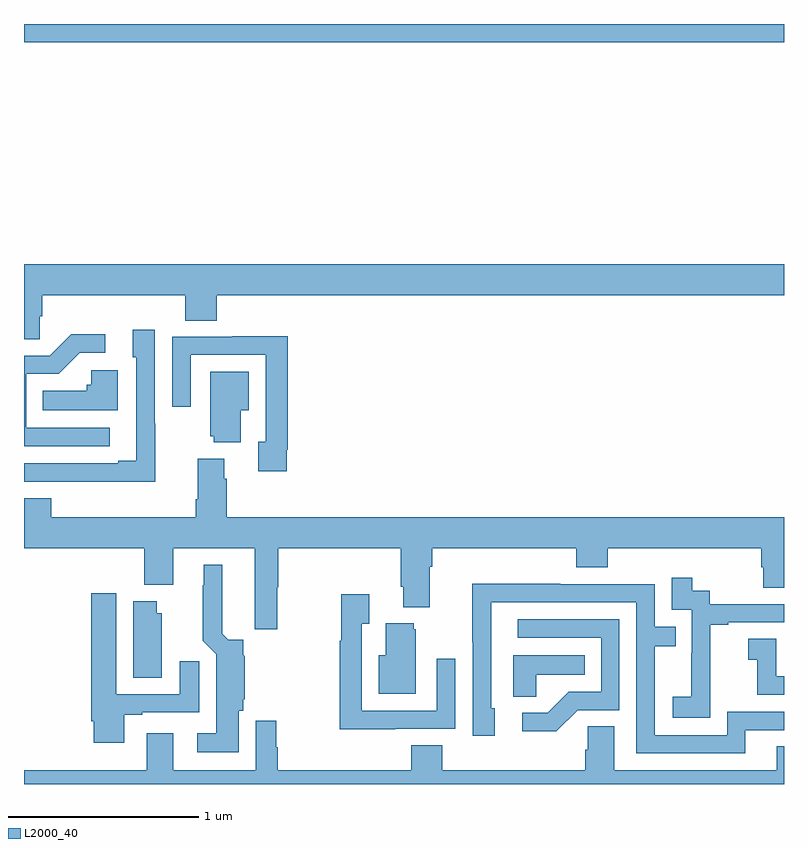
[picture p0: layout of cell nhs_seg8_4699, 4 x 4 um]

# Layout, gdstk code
import gdstk
lib = gdstk.Library(unit=1e-6, precision=1e-09)
def R(c, l, rs):  # rectangles x0, y0, x1, y1
    for r in rs: c.add(gdstk.rectangle(r[:2], r[2:], *l))
def P(c, l, *ps):  # polygons
    for p in ps: c.add(gdstk.Polygon(p, *l))
L2000_40 = (2000, 40)

nhs_seg8_4699 = lib.new_cell('nhs_seg8_4699')
R(nhs_seg8_4699, L2000_40, [(395,1145.804,399,1145.9)])
P(nhs_seg8_4699, L2000_40, [(395,1144.24),(395.082,1144.24),(395.082,1144.363),(395.096,1144.363),(395.096,1144.472),(395.849,1144.472),(395.849,1144.339),(396.014,1144.339),(396.014,1144.472),(399,1144.472),(399,1144.636),(395,1144.636)],
  [(395.691,1143.797),(395.688,1143.797),(395.688,1144.291),(395.573,1144.291),(395.573,1144.146),(395.592,1144.146),(395.592,1143.601),(395.495,1143.601),(395.495,1143.588),(395,1143.588),(395,1143.492),(395.227,1143.492),(395.227,1143.491),(395.691,1143.491)],
  [(395.452,1143.774),(395.013,1143.774),(395.013,1144.059),(395.182,1144.059),(395.293,1144.17),(395.428,1144.17),(395.428,1144.268),(395.249,1144.268),(395.136,1144.155),(395,1144.155),(395,1143.678),(395.452,1143.678)],
  [(396.382,1143.658),(396.389,1143.658),(396.389,1144.256),(396.097,1144.256),(396.097,1144.254),(395.781,1144.254),(395.781,1143.885),(395.877,1143.885),(395.877,1144.158),(396.273,1144.158),(396.273,1143.702),(396.233,1143.702),(396.233,1143.546),(396.382,1143.546)],
  [(395.494,1144.078),(395.355,1144.078),(395.355,1144.002),(395.329,1144.002),(395.329,1143.97),(395.098,1143.97),(395.098,1143.866),(395.494,1143.866)],
  [(396.142,1143.866),(396.184,1143.866),(396.184,1144.069),(395.981,1144.069),(395.981,1143.729),(395.999,1143.729),(395.999,1143.698),(396.142,1143.698)],
  [(396.055,1143.506),(396.055,1143.613),(395.915,1143.613),(395.915,1143.4),(395.903,1143.4),(395.903,1143.304),(395.144,1143.304),(395.144,1143.403),(395,1143.403),(395,1143.14),(395.633,1143.14),(395.633,1142.948),(395.785,1142.948),(395.785,1143.14),(396.215,1143.14),(396.215,1142.715),(396.333,1142.715),(396.333,1142.936),(396.338,1142.936),(396.338,1143.14),(396.983,1143.14),(396.983,1142.938),(396.995,1142.938),(396.995,1142.831),(397.135,1142.831),(397.135,1143.044),(397.148,1143.044),(397.148,1143.14),(397.907,1143.14),(397.907,1143.041),(398.072,1143.041),(398.072,1143.14),(398.879,1143.14),(398.879,1143.042),(398.891,1143.042),(398.891,1142.932),(399,1142.932),(399,1143.304),(396.068,1143.304),(396.068,1143.506)],
  [(396.13,1142.286),(396.155,1142.286),(396.155,1142.346),(396.161,1142.346),(396.161,1142.573),(396.155,1142.579),(396.155,1142.658),(396.076,1142.658),(396.043,1142.692),(396.043,1143.055),(395.945,1143.055),(395.945,1142.945),(395.941,1142.945),(395.941,1142.654),(396.011,1142.584),(396.011,1142.167),(395.913,1142.167),(395.913,1142.066),(396.13,1142.066)],
  [(398.613,1142.455),(398.612,1142.455),(398.612,1142.739),(398.707,1142.739),(398.707,1142.751),(399,1142.751),(399,1142.847),(398.61,1142.847),(398.61,1142.916),(398.518,1142.916),(398.518,1142.986),(398.409,1142.986),(398.409,1142.817),(398.514,1142.817),(398.514,1142.588),(398.513,1142.588),(398.513,1142.359),(398.415,1142.359),(398.415,1142.249),(398.613,1142.249)],
  [(398.797,1142.184),(399,1142.184),(399,1142.28),(398.7,1142.28),(398.7,1142.157),(398.319,1142.157),(398.319,1142.626),(398.429,1142.626),(398.429,1142.727),(398.319,1142.727),(398.319,1142.952),(397.823,1142.952),(397.823,1142.954),(397.36,1142.954),(397.36,1142.647),(397.362,1142.647),(397.362,1142.154),(397.477,1142.154),(397.477,1142.298),(397.458,1142.298),(397.458,1142.856),(398.223,1142.856),(398.223,1142.061),(398.797,1142.061)],
  [(395.527,1142.265),(395.623,1142.265),(395.623,1142.277),(395.923,1142.277),(395.923,1142.545),(395.819,1142.545),(395.819,1142.373),(395.485,1142.373),(395.485,1142.905),(395.354,1142.905),(395.354,1142.23),(395.366,1142.23),(395.366,1142.118),(395.527,1142.118)],
  [(396.953,1142.19),(397.269,1142.19),(397.269,1142.56),(397.173,1142.56),(397.173,1142.286),(396.777,1142.286),(396.777,1142.743),(396.817,1142.743),(396.817,1142.899),(396.669,1142.899),(396.669,1142.654),(396.661,1142.654),(396.661,1142.189),(396.953,1142.189)],
  [(395.725,1142.799),(395.698,1142.799),(395.698,1142.863),(395.576,1142.863),(395.576,1142.458),(395.725,1142.458)],
  [(397.914,1142.289),(398.133,1142.289),(398.133,1142.766),(397.599,1142.766),(397.599,1142.67),(398.037,1142.67),(398.037,1142.385),(397.868,1142.385),(397.757,1142.274),(397.623,1142.274),(397.623,1142.177),(397.801,1142.177)],
  [(397.063,1142.715),(397.052,1142.715),(397.052,1142.746),(396.905,1142.746),(396.905,1142.578),(396.866,1142.578),(396.866,1142.375),(397.063,1142.375)],
  [(399,1142.466),(398.958,1142.466),(398.958,1142.665),(398.811,1142.665),(398.811,1142.555),(398.86,1142.555),(398.86,1142.37),(399,1142.37)],
  [(397.695,1142.474),(397.952,1142.474),(397.952,1142.578),(397.574,1142.578),(397.574,1142.359),(397.695,1142.359)],
  [(399,1142.099),(398.963,1142.099),(398.963,1141.972),(398.107,1141.972),(398.107,1142.204),(397.968,1142.204),(397.968,1142.081),(397.955,1142.081),(397.955,1141.972),(397.202,1141.972),(397.202,1142.105),(397.037,1142.105),(397.037,1141.972),(396.335,1141.972),(396.335,1142.094),(396.328,1142.094),(396.328,1142.233),(396.219,1142.233),(396.219,1141.972),(395.785,1141.972),(395.785,1142.167),(395.645,1142.167),(395.645,1141.972),(395,1141.972),(395,1141.9),(399,1141.9)])

lib.write_gds('nhs_seg8_4699.gds')
